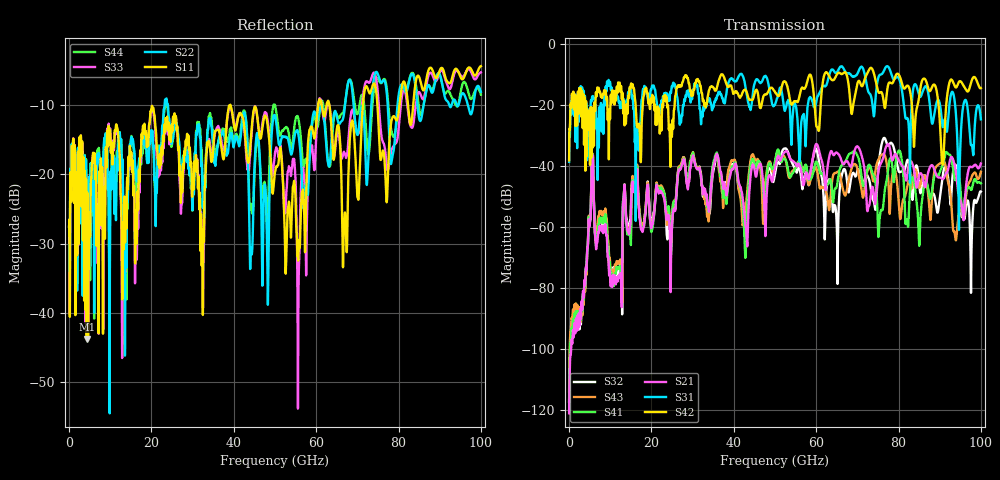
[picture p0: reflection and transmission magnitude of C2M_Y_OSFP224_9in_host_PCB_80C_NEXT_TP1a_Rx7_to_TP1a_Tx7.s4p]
# GHz S RI R 45
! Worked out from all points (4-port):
!   4000 points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, 25 MHz to 100 GHz, reference 45 ohm
!   strongest paths, dB at 25 MHz, 25.02 GHz, 50.02 GHz, 75.03 GHz, 100 GHz:
!     S42: -38.3, -28.8, -16.0, -15.6, -14.6
!     S31: -38.7, -14.0, -20.0, -11.5, -24.8
!     S21: -121.1, -58.9, -40.8, -42.7, -39.3
!     S41: -117.2, -56.7, -38.6, -60.9, -45.8
!     S43: -113.9, -56.5, -38.8, -38.3, -42.0
!     S32: -117.4, -59.2, -42.7, -42.4, -48.5
!   lowest |S11| = -43.7 dB at 4.3 GHz (marker M1), VSWR 1.01, Z = 45.2 - j0.558 ohm
!   |S11| at or under -10 dB: start of sweep to 39.07 GHz; 39.23 GHz to 60.46 GHz (21.23 GHz wide, 42.6 % of centre); 63.22 GHz to 71.36 GHz (8.137 GHz wide, 12.1 % of centre) (the widest 3 of 6)
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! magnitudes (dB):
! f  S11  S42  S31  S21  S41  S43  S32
! 25 MHz  -27.5  -38.3  -38.7  -121.1  -117.2  -113.9  -117.4
! 4.3 GHz  -43.7  -36.9  -24.6  -72.0  -72.3  -73.3  -72.8
! 5.625 GHz  -18.2  -21.4  -17.4  -40.5  -40.4  -40.2  -40.3
! 30.07 GHz  -20.5  -17.0  -15.3  -36.7  -35.7  -35.6  -36.5
! 42.73 GHz  -14.1  -15.1  -13.3  -58.2  -68.3  -54.2  -54.3
! 50.7 GHz  -18.7  -17.1  -17.4  -37.0  -34.7  -35.4  -38.7
! 100 GHz  -4.4  -14.6  -24.8  -39.3  -45.8  -42.0  -48.5
